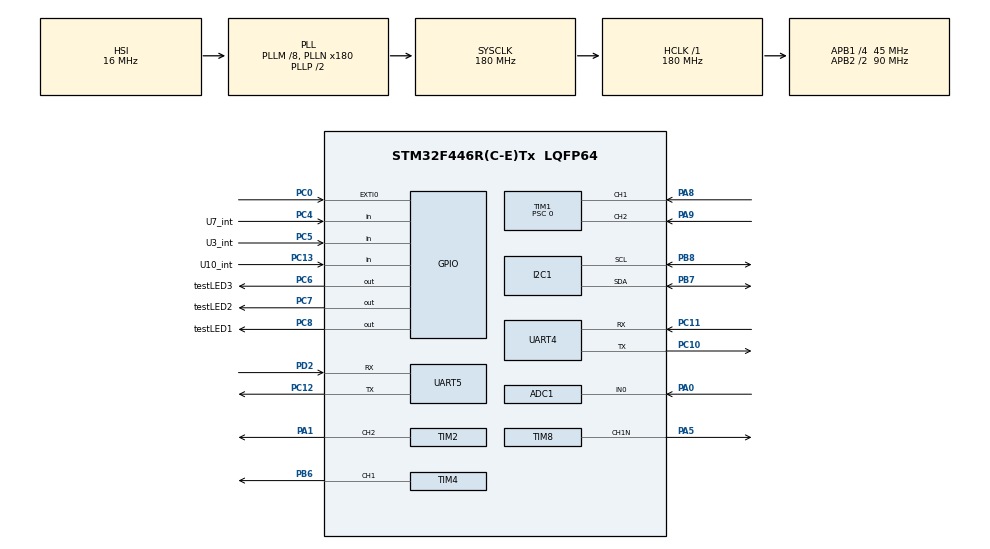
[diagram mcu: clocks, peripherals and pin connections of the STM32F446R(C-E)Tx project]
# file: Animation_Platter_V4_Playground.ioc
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ADC1.Channel-2\#ChannelRegularConversion=ADC_CHANNEL_0
ADC1.ContinuousConvMode=ENABLE
ADC1.NbrOfConversionFlag=1
ADC1.Rank-2\#ChannelRegularConversion=1
ADC1.SamplingTime-2\#ChannelRegularConversion=ADC_SAMPLETIME_3CYCLES
ADC1.master=1
Dma.Request0=TIM2_CH2/CH4
Dma.Request1=UART4_TX
Dma.Request2=UART5_TX
Dma.Request3=TIM4_CH1
Dma.TIM2_CH2/CH4.0.Direction=DMA_MEMORY_TO_PERIPH
Dma.TIM2_CH2/CH4.0.FIFOMode=DMA_FIFOMODE_DISABLE
Dma.TIM2_CH2/CH4.0.Instance=DMA1_Stream6
Dma.TIM2_CH2/CH4.0.MemDataAlignment=DMA_MDATAALIGN_WORD
Dma.TIM2_CH2/CH4.0.MemInc=DMA_MINC_ENABLE
Dma.TIM2_CH2/CH4.0.Mode=DMA_NORMAL
Dma.TIM2_CH2/CH4.0.PeriphDataAlignment=DMA_PDATAALIGN_WORD
Dma.TIM2_CH2/CH4.0.PeriphInc=DMA_PINC_DISABLE
Dma.TIM2_CH2/CH4.0.Priority=DMA_PRIORITY_LOW
Dma.TIM4_CH1.3.Direction=DMA_MEMORY_TO_PERIPH
Dma.TIM4_CH1.3.FIFOMode=DMA_FIFOMODE_DISABLE
Dma.TIM4_CH1.3.Instance=DMA1_Stream0
Dma.TIM4_CH1.3.MemDataAlignment=DMA_MDATAALIGN_HALFWORD
Dma.TIM4_CH1.3.MemInc=DMA_MINC_ENABLE
Dma.TIM4_CH1.3.Mode=DMA_NORMAL
Dma.TIM4_CH1.3.PeriphDataAlignment=DMA_PDATAALIGN_HALFWORD
Dma.TIM4_CH1.3.PeriphInc=DMA_PINC_DISABLE
Dma.TIM4_CH1.3.Priority=DMA_PRIORITY_HIGH
Dma.UART4_TX.1.Direction=DMA_MEMORY_TO_PERIPH
Dma.UART4_TX.1.FIFOMode=DMA_FIFOMODE_DISABLE
Dma.UART4_TX.1.Instance=DMA1_Stream4
Dma.UART4_TX.1.MemDataAlignment=DMA_MDATAALIGN_BYTE
Dma.UART4_TX.1.MemInc=DMA_MINC_ENABLE
Dma.UART4_TX.1.Mode=DMA_NORMAL
Dma.UART4_TX.1.PeriphDataAlignment=DMA_PDATAALIGN_BYTE
Dma.UART4_TX.1.PeriphInc=DMA_PINC_DISABLE
Dma.UART4_TX.1.Priority=DMA_PRIORITY_LOW
Dma.UART5_TX.2.Direction=DMA_MEMORY_TO_PERIPH
Dma.UART5_TX.2.FIFOMode=DMA_FIFOMODE_DISABLE
Dma.UART5_TX.2.Instance=DMA1_Stream7
Dma.UART5_TX.2.MemDataAlignment=DMA_MDATAALIGN_BYTE
Dma.UART5_TX.2.MemInc=DMA_MINC_ENABLE
Dma.UART5_TX.2.Mode=DMA_NORMAL
Dma.UART5_TX.2.PeriphDataAlignment=DMA_PDATAALIGN_BYTE
Dma.UART5_TX.2.PeriphInc=DMA_PINC_DISABLE
Dma.UART5_TX.2.Priority=DMA_PRIORITY_LOW
I2C1.I2C_Mode=I2C_Fast
Mcu.Family=STM32F4
Mcu.Name=STM32F446R(C-E)Tx
Mcu.Package=LQFP64
NVIC.ADC_IRQn=true\:0\:0\:false\:false\:true\:true\:true\:true
NVIC.DMA1_Stream0_IRQn=true\:0\:0\:false\:false\:true\:false\:true\:true
NVIC.DMA1_Stream4_IRQn=true\:0\:0\:false\:false\:true\:false\:true\:true
NVIC.DMA1_Stream6_IRQn=true\:0\:0\:false\:false\:true\:false\:true\:true
NVIC.DMA1_Stream7_IRQn=true\:0\:0\:false\:false\:true\:false\:true\:true
NVIC.EXTI0_IRQn=true\:0\:0\:true\:false\:true\:true\:true\:true
NVIC.PriorityGroup=NVIC_PRIORITYGROUP_4
NVIC.TIM2_IRQn=true\:0\:0\:false\:false\:true\:true\:true\:true
NVIC.TIM4_IRQn=true\:0\:0\:false\:false\:true\:true\:true\:true
NVIC.UART4_IRQn=true\:0\:0\:false\:false\:true\:true\:true\:true
NVIC.UART5_IRQn=true\:0\:0\:false\:false\:true\:true\:true\:true
PA0-WKUP.Signal=ADCx_IN0
PA1.Signal=S_TIM2_CH2
PA13.Mode=Serial_Wire
PA13.Signal=SYS_JTMS-SWDIO
PA14.Mode=Serial_Wire
PA14.Signal=SYS_JTCK-SWCLK
PA5.Mode=PWM Generation1 CH1N
PA5.Signal=TIM8_CH1N
PA8.Signal=S_TIM1_CH1
PA9.Signal=S_TIM1_CH2
PB6.GPIO_PuPd=GPIO_PULLDOWN
PB6.Signal=S_TIM4_CH1
PB7.Mode=I2C
PB7.Signal=I2C1_SDA
PB8.Mode=I2C
PB8.Signal=I2C1_SCL
PC0.GPIO_ModeDefaultEXTI=GPIO_MODE_IT_FALLING
PC0.GPIO_PuPd=GPIO_PULLUP
PC0.Signal=GPXTI0
PC10.Mode=Asynchronous
PC10.Signal=UART4_TX
PC11.Mode=Asynchronous
PC11.Signal=UART4_RX
PC12.Mode=Asynchronous
PC12.Signal=UART5_TX
PC13.GPIO_Label=U10_int
PC13.Signal=GPIO_Input
PC4.GPIO_Label=U7_int
PC4.Signal=GPIO_Input
PC5.GPIO_Label=U3_int
PC5.Signal=GPIO_Input
PC6.GPIO_Label=testLED3
PC6.Signal=GPIO_Output
PC7.GPIO_Label=testLED2
PC7.Signal=GPIO_Output
PC8.GPIO_Label=testLED1
PC8.Signal=GPIO_Output
PD2.Mode=Asynchronous
PD2.Signal=UART5_RX
PH0-OSC_IN.Mode=HSE-External-Oscillator
PH0-OSC_IN.Signal=RCC_OSC_IN
PH1-OSC_OUT.Mode=HSE-External-Oscillator
PH1-OSC_OUT.Signal=RCC_OSC_OUT
ProjectManager.HeapSize=0x200
ProjectManager.StackSize=0x400
ProjectManager.TargetToolchain=CMake
RCC.AHBFreq_Value=180000000
RCC.APB1CLKDivider=RCC_HCLK_DIV4
RCC.APB1Freq_Value=45000000
RCC.APB1TimFreq_Value=90000000
RCC.APB2CLKDivider=RCC_HCLK_DIV2
RCC.APB2Freq_Value=90000000
RCC.APB2TimFreq_Value=180000000
RCC.CortexFreq_Value=180000000
RCC.HCLKFreq_Value=180000000
RCC.HSE_VALUE=16000000
RCC.PLLM=8
RCC.PLLN=180
RCC.SYSCLKFreq_VALUE=180000000
RCC.SYSCLKSource=RCC_SYSCLKSOURCE_PLLCLK
RCC.USBFreq_Value=180000000
RCC.VCOOutputFreq_Value=360000000
SH.ADCx_IN0.0=ADC1_IN0,IN0
SH.S_TIM1_CH1.0=TIM1_CH1,Encoder_Interface
SH.S_TIM1_CH2.0=TIM1_CH2,Encoder_Interface
SH.S_TIM2_CH2.0=TIM2_CH2,PWM Generation2 CH2
SH.S_TIM4_CH1.0=TIM4_CH1,PWM Generation1 CH1
TIM1.AutoReloadPreload=TIM_AUTORELOAD_PRELOAD_ENABLE
TIM1.ClockDivision=TIM_CLOCKDIVISION_DIV1
TIM1.CounterMode=TIM_COUNTERMODE_DOWN
TIM1.EncoderMode=TIM_ENCODERMODE_TI1
TIM1.IC1Filter=15
TIM1.IC1Polarity=TIM_ICPOLARITY_RISING
TIM1.IC1Prescaler=TIM_ICPSC_DIV1
TIM1.IC2Filter=15
TIM1.IC2Polarity=TIM_ICPOLARITY_RISING
TIM1.IC2Prescaler=TIM_ICPSC_DIV1
TIM1.Prescaler=0
TIM2.Channel-PWM\ Generation2\ CH2=TIM_CHANNEL_2
TIM2.Period=113-1
TIM4.Channel-PWM\ Generation1\ CH1=TIM_CHANNEL_1
TIM4.Period=1000
TIM5.Prescaler=0
TIM8.Channel-PWM\ Generation1\ CH1N=TIM_CHANNEL_1
TIM8.Period=100-1
TIM8.Prescaler=1000-1
UART4.VirtualMode=Asynchronous
UART5.VirtualMode=Asynchronous
VP_TIM4_VS_ClockSourceINT.Mode=Internal
VP_TIM5_VS_ClockSourceINT.Mode=Internal
board=custom

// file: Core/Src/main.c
/* USER CODE BEGIN Header */
/**
  ******************************************************************************
  * @file           : main.c
  * @brief          : Main program body
  ******************************************************************************
  * @attention
  *
  * Copyright (c) 2025 STMicroelectronics.
  * All rights reserved.
  *
  * This software is licensed under terms that can be found in the LICENSE file
  * in the root directory of this software component.
  * If no LICENSE file comes with this software, it is provided AS-IS.
  *
  ******************************************************************************
  */
/* USER CODE END Header */
#include "main.h"

/* USER CODE BEGIN Includes */
#include "drivers/TCA9534.h"
#include "drivers/WS2812.h"
#include "drivers/TMC2209.h"
#include "app/machine interface.h"
#include "stm32f446xx.h"
#include "stm32f4xx_hal_gpio.h"
#include "drivers/ESP_UART.h"
#include "drivers/VEML7700.h"

#include "drivers/pn532.h"
#include "drivers/pn532_HAL.h"
#include <stdint.h>

/* USER CODE END Includes */

ADC_HandleTypeDef hadc1;

I2C_HandleTypeDef hi2c1;

TIM_HandleTypeDef htim1;
TIM_HandleTypeDef htim2;
TIM_HandleTypeDef htim4;
TIM_HandleTypeDef htim5;
TIM_HandleTypeDef htim8;
DMA_HandleTypeDef hdma_tim2_ch2_ch4;
DMA_HandleTypeDef hdma_tim4_ch1;

UART_HandleTypeDef huart4;
UART_HandleTypeDef huart5;
DMA_HandleTypeDef hdma_uart4_tx;
DMA_HandleTypeDef hdma_uart5_tx;

/* USER CODE BEGIN PV */

HAL_StatusTypeDef HAL_Status_I2C_2 = HAL_OK;

//system instance
system_interface zoetrope; //main system instance

//esp32 uart tx data instance
ESPTX_instance esp32_1; //main rectangle ESP32-S3 screen
ESPTX_instance esp32_2; //circle ESP32-S3 screen

//PCA9534 I2C I/O expansion variables and instances
//three instances
TCA9534_instance TCA_port1;
TCA9534_instance TCA_port2;
TCA9534_instance TCA_port3;

//settings for port1 (U3)
uint8_t port1Address = 0b0100000;
uint8_t port1Config = 0b01100000; //configuration - inputs for esp32 pins, outputs for motor control pins and heartbeat LED
uint8_t port1Polarity = 0b00000000; //TMC2209 enable pin is active low
uint8_t port1DefVal = 0b00000000; //defualt to OFF
//settings for port2 (U7)
uint8_t port2Address = 0b0100001;
uint8_t port2Config = 0b01111111; //configuration - inputs for switches and unused pins, outputs for heartbeat LED TEST
uint8_t port2Polarity = 0b00000111; //polarity inversion for switch inputs
uint8_t port2DefVal = 0b00000000; //default to OFF
//settings for port3 (U10)
uint8_t port3Address = 0b0100010;
uint8_t port3Config = 0b00011111; //configuration - inputs for buttons, outputs for fans and heartbeat LED TEST
uint8_t port3Polarity = 0b00000000; //no polarity inversion
uint8_t port3DefVal = 0b00000000; //default to OFF

uint32_t heartbeatTime = 0;
uint32_t prevHeartbeatTime = 0;
uint16_t blinkTime = 250; //heartbeat blink tie
uint8_t heartbeatIndex = 0;

volatile uint16_t tempVariable = 0;

//figuring out NFC below here////
uint8_t NFCReadBuffer[126][4]; //buffer to hold NFC read data - max 126 pages of 4 bytes each
uint8_t NFCWriteBuffer[126][4]; //buffer to hold NFC write data - max 126 pages of 4 bytes each
uint8_t DATA[] = {0x05, 0x06, 0x07, 0x08}; //for single page writes
uint8_t DATA2[] = {0x00, 0x00, 0x00, 0x00}; //for single page reads
uint8_t NFCUID[7]; //buffer to hold NFC UID - max 7 bytes
uint8_t NFCUIDLength = 0; //length of the NFC UID read
uint8_t NFCDetectedFlag = 0; //flag to indicate if an NFC tag has been detected
uint8_t NFCFailFlag = 0; //flag to indicate if an NFC operation has failed
uint8_t zoetrope_NFCPageCount = 10; //number of pages to read/write for zoetrope data, each page is 4 bytes - adjust as needed, starting at 10, 2 extra pages - for testing

//variable in the example code
uint8_t buff[255]; //look to optimize this out? - or integrate the DATA buffers into this
uint8_t uid[MIFARE_UID_MAX_LENGTH];
uint32_t pn532_error = PN532_ERROR_NONE; //reset error variable
int32_t uid_len = 0; //reset uid length variable
uint8_t block_number = 6; //this is where data can start being written on NTAG2xx tags

uint8_t buff[255];
uint8_t uid[MIFARE_UID_MAX_LENGTH];
//int32_t uid_len = 0; defined above
PN532 pn532;

/* USER CODE END PV */

void SystemClock_Config(void);
static void MX_GPIO_Init(void);
static void MX_DMA_Init(void);
static void MX_I2C1_Init(void);
static void MX_ADC1_Init(void);
static void MX_TIM1_Init(void);
static void MX_UART4_Init(void);
static void MX_TIM8_Init(void);
static void MX_TIM2_Init(void);
static void MX_UART5_Init(void);
static void MX_TIM4_Init(void);
static void MX_TIM5_Init(void);
/* USER CODE BEGIN PFP */

void I2C_IO_run(void);
void NFC_writeDataToSticker(PN532* pn532);
void setNFCWriteBuffer(void);
void resetNFCReadBuffer(void);

/* USER CODE END PFP */

int main(void)
{

  /* MCU Configuration--------------------------------------------------------*/

  /* Reset of all peripherals, Initializes the Flash interface and the Systick. */
  HAL_Init();

  /* Configure the system clock */
  SystemClock_Config();

  /* Initialize all configured peripherals */
  MX_GPIO_Init();
  MX_DMA_Init();
  MX_I2C1_Init();
  MX_ADC1_Init();
  MX_TIM1_Init();
  MX_UART4_Init();
  MX_TIM8_Init();
  MX_TIM2_Init();
  MX_UART5_Init();
  MX_TIM4_Init();
  MX_TIM5_Init();

  /* Infinite loop */
  /* USER CODE BEGIN WHILE */

  //start microsecond (platter speed tracker) timer
  HAL_TIM_Base_Start(&htim5);

  //start the encoder timer
  HAL_TIM_Encoder_Start(&htim1, TIM_CHANNEL_ALL);
  //preload the encoder timer count - timer increments the CNT register based on rotation direction of the encoder - need to set roughly in the middle of the range
  TIM1->CNT = 32768; //somewhere in the middle of the 16-bit range

  zoetrope.encoderTimerCount = TIM1->CNT; //set the timer encoder value
  zoetrope.prevEncoderTimerCount = zoetrope.encoderTimerCount; //set the previous timer encoder value

  //initialize each I/O expander with default zoetrope carousel v4 settings
  HAL_Status_I2C_2 = TCA9534_init(&TCA_port1, &hi2c1, port1Address, port1Config, port1Polarity, port1DefVal);
  HAL_Status_I2C_2 = TCA9534_init(&TCA_port2, &hi2c1, port2Address, port2Config, port2Polarity, port2DefVal);
  HAL_Status_I2C_2 = TCA9534_init(&TCA_port3, &hi2c1, port3Address, port3Config, port3Polarity, port3DefVal);

  zoetrope_init(&zoetrope); //call this after all the other initializations except TMC2209_init()
  TMC2209_init(&zoetrope, 0, 0); //initialize the TMC2209 motor driver - full step, stealthChop

  HAL_Status_I2C_2 = HAL_ADC_Start_IT(&hadc1); //start ADC in interrupt mode - continuous conversion

  //stepper motor pwm
  HAL_TIMEx_PWMN_Start(&htim8, TIM_CHANNEL_1); //if this doesnt work, try CH1N

  //set all LEDs to OFF - to start
  HAL_GPIO_WritePin(GPIOC, testLED1_Pin, 0);
  HAL_GPIO_WritePin(GPIOC, testLED2_Pin, 0);
  HAL_GPIO_WritePin(GPIOC, testLED3_Pin, 0);
  neopixel_setAllLEDColor(0, 0, 0);
  neopixel_update();

  //keep the strobe off until it is implemented
  strobe_timerPWMControl(&zoetrope); //start the strobe PWM output //TURN THE STROBE OFF

  //////////////////////////////////////////////////
  ////////NFC Initialize////////////////////////
  /////////////////////////////////////////////////

  PN532_I2C_Init(&pn532);
  PN532_GetFirmwareVersion(&pn532, buff);
  if (PN532_GetFirmwareVersion(&pn532, buff) == PN532_STATUS_OK) {
    buff[0] = buff[0]; //breakpoint spot
  } else {
    //return -1; //this will break things - kadin
  }
  PN532_SamConfiguration(&pn532); //put into read mode? - not sure what this does yet, but its needed

  //put zoetrope into default running state - for testing
  //zoetrope.stateMachine_state = 100; //default to running state
  zoetrope.stateMachine_state = 10; //NFC search mode
  //set temporary motor mode
  uint8_t tempMotorMode = 100; //default mode
  zoetrope.motorMode = tempMotorMode;

  while (1)
  {

    //cant move this until I move the function itself from this file
    //checks if time to update I2C I/O expander inputs then reads the inputs if needed
    I2C_IO_run(); //call this function FIRST IN THE LOOP prior to chaning any I/O variables (it will overwrite changes otherwise)

    //everything but checking i2c inputs
    zoetrope_stateMachine(&zoetrope); //system state machine handler - all system functions and variables set here

    //NFC TESTING - write and confirm good write (this slows things down ALOT)
    //NFC_writeDataToSticker(&pn532);

    /* USER CODE END WHILE */

  }
}

void SystemClock_Config(void)
{
  RCC_OscInitTypeDef RCC_OscInitStruct = {0};
  RCC_ClkInitTypeDef RCC_ClkInitStruct = {0};

  /** Configure the main internal regulator output voltage
  */
  __HAL_RCC_PWR_CLK_ENABLE();
  __HAL_PWR_VOLTAGESCALING_CONFIG(PWR_REGULATOR_VOLTAGE_SCALE1);

  /** Initializes the RCC Oscillators according to the specified parameters
  * in the RCC_OscInitTypeDef structure.
  */
  RCC_OscInitStruct.OscillatorType = RCC_OSCILLATORTYPE_HSI;
  RCC_OscInitStruct.HSIState = RCC_HSI_ON;
  RCC_OscInitStruct.HSICalibrationValue = RCC_HSICALIBRATION_DEFAULT;
  RCC_OscInitStruct.PLL.PLLState = RCC_PLL_ON;
  RCC_OscInitStruct.PLL.PLLSource = RCC_PLLSOURCE_HSI;
  RCC_OscInitStruct.PLL.PLLM = 8;
  RCC_OscInitStruct.PLL.PLLN = 180;
  RCC_OscInitStruct.PLL.PLLP = RCC_PLLP_DIV2;
  RCC_OscInitStruct.PLL.PLLQ = 2;
  RCC_OscInitStruct.PLL.PLLR = 2;
  if (HAL_RCC_OscConfig(&RCC_OscInitStruct) != HAL_OK)
  {
    Error_Handler();
  }

  /** Activate the Over-Drive mode
  */
  if (HAL_PWREx_EnableOverDrive() != HAL_OK)
  {
    Error_Handler();
  }

  /** Initializes the CPU, AHB and APB buses clocks
  */
  RCC_ClkInitStruct.ClockType = RCC_CLOCKTYPE_HCLK|RCC_CLOCKTYPE_SYSCLK
                              |RCC_CLOCKTYPE_PCLK1|RCC_CLOCKTYPE_PCLK2;
  RCC_ClkInitStruct.SYSCLKSource = RCC_SYSCLKSOURCE_PLLCLK;
  RCC_ClkInitStruct.AHBCLKDivider = RCC_SYSCLK_DIV1;
  RCC_ClkInitStruct.APB1CLKDivider = RCC_HCLK_DIV4;
  RCC_ClkInitStruct.APB2CLKDivider = RCC_HCLK_DIV2;

  if (HAL_RCC_ClockConfig(&RCC_ClkInitStruct, FLASH_LATENCY_5) != HAL_OK)
  {
    Error_Handler();
  }
}

static void MX_ADC1_Init(void)
{

  ADC_ChannelConfTypeDef sConfig = {0};

  /** Configure the global features of the ADC (Clock, Resolution, Data Alignment and number of conversion)
  */
  hadc1.Instance = ADC1;
  hadc1.Init.ClockPrescaler = ADC_CLOCK_SYNC_PCLK_DIV4;
  hadc1.Init.Resolution = ADC_RESOLUTION_12B;
  hadc1.Init.ScanConvMode = DISABLE;
  hadc1.Init.ContinuousConvMode = ENABLE;
  hadc1.Init.DiscontinuousConvMode = DISABLE;
  hadc1.Init.ExternalTrigConvEdge = ADC_EXTERNALTRIGCONVEDGE_NONE;
  hadc1.Init.ExternalTrigConv = ADC_SOFTWARE_START;
  hadc1.Init.DataAlign = ADC_DATAALIGN_RIGHT;
  hadc1.Init.NbrOfConversion = 1;
  hadc1.Init.DMAContinuousRequests = DISABLE;
  hadc1.Init.EOCSelection = ADC_EOC_SINGLE_CONV;
  if (HAL_ADC_Init(&hadc1) != HAL_OK)
  {
    Error_Handler();
  }

  /** Configure for the selected ADC regular channel its corresponding rank in the sequencer and its sample time.
  */
  sConfig.Channel = ADC_CHANNEL_0;
  sConfig.Rank = 1;
  sConfig.SamplingTime = ADC_SAMPLETIME_3CYCLES;
  if (HAL_ADC_ConfigChannel(&hadc1, &sConfig) != HAL_OK)
  {
    Error_Handler();
  }

}

static void MX_I2C1_Init(void)
{

  hi2c1.Instance = I2C1;
  hi2c1.Init.ClockSpeed = 400000;
  hi2c1.Init.DutyCycle = I2C_DUTYCYCLE_2;
  hi2c1.Init.OwnAddress1 = 0;
  hi2c1.Init.AddressingMode = I2C_ADDRESSINGMODE_7BIT;
  hi2c1.Init.DualAddressMode = I2C_DUALADDRESS_DISABLE;
  hi2c1.Init.OwnAddress2 = 0;
  hi2c1.Init.GeneralCallMode = I2C_GENERALCALL_DISABLE;
  hi2c1.Init.NoStretchMode = I2C_NOSTRETCH_DISABLE;
  if (HAL_I2C_Init(&hi2c1) != HAL_OK)
  {
    Error_Handler();
  }

}

static void MX_TIM1_Init(void)
{

  TIM_Encoder_InitTypeDef sConfig = {0};
  TIM_MasterConfigTypeDef sMasterConfig = {0};

  htim1.Instance = TIM1;
  htim1.Init.Prescaler = 0;
  htim1.Init.CounterMode = TIM_COUNTERMODE_DOWN;
  htim1.Init.Period = 65535;
  htim1.Init.ClockDivision = TIM_CLOCKDIVISION_DIV1;
  htim1.Init.RepetitionCounter = 0;
  htim1.Init.AutoReloadPreload = TIM_AUTORELOAD_PRELOAD_ENABLE;
  sConfig.EncoderMode = TIM_ENCODERMODE_TI1;
  sConfig.IC1Polarity = TIM_ICPOLARITY_RISING;
  sConfig.IC1Selection = TIM_ICSELECTION_DIRECTTI;
  sConfig.IC1Prescaler = TIM_ICPSC_DIV1;
  sConfig.IC1Filter = 15;
  sConfig.IC2Polarity = TIM_ICPOLARITY_RISING;
  sConfig.IC2Selection = TIM_ICSELECTION_DIRECTTI;
  sConfig.IC2Prescaler = TIM_ICPSC_DIV1;
  sConfig.IC2Filter = 15;
  if (HAL_TIM_Encoder_Init(&htim1, &sConfig) != HAL_OK)
  {
    Error_Handler();
  }
  sMasterConfig.MasterOutputTrigger = TIM_TRGO_RESET;
  sMasterConfig.MasterSlaveMode = TIM_MASTERSLAVEMODE_DISABLE;
  if (HAL_TIMEx_MasterConfigSynchronization(&htim1, &sMasterConfig) != HAL_OK)
  {
    Error_Handler();
  }

}

static void MX_TIM2_Init(void)
{

  TIM_MasterConfigTypeDef sMasterConfig = {0};
  TIM_OC_InitTypeDef sConfigOC = {0};

  htim2.Instance = TIM2;
  htim2.Init.Prescaler = 0;
  htim2.Init.CounterMode = TIM_COUNTERMODE_UP;
  htim2.Init.Period = 113-1;
  htim2.Init.ClockDivision = TIM_CLOCKDIVISION_DIV1;
  htim2.Init.AutoReloadPreload = TIM_AUTORELOAD_PRELOAD_DISABLE;
  if (HAL_TIM_PWM_Init(&htim2) != HAL_OK)
  {
    Error_Handler();
  }
  sMasterConfig.MasterOutputTrigger = TIM_TRGO_RESET;
  sMasterConfig.MasterSlaveMode = TIM_MASTERSLAVEMODE_DISABLE;
  if (HAL_TIMEx_MasterConfigSynchronization(&htim2, &sMasterConfig) != HAL_OK)
  {
    Error_Handler();
  }
  sConfigOC.OCMode = TIM_OCMODE_PWM1;
  sConfigOC.Pulse = 0;
  sConfigOC.OCPolarity = TIM_OCPOLARITY_HIGH;
  sConfigOC.OCFastMode = TIM_OCFAST_DISABLE;
  if (HAL_TIM_PWM_ConfigChannel(&htim2, &sConfigOC, TIM_CHANNEL_2) != HAL_OK)
  {
    Error_Handler();
  }
  HAL_TIM_MspPostInit(&htim2);

}

static void MX_TIM4_Init(void)
{

  TIM_ClockConfigTypeDef sClockSourceConfig = {0};
  TIM_MasterConfigTypeDef sMasterConfig = {0};
  TIM_OC_InitTypeDef sConfigOC = {0};

  htim4.Instance = TIM4;
  htim4.Init.Prescaler = 0;
  htim4.Init.CounterMode = TIM_COUNTERMODE_UP;
  htim4.Init.Period = 1000;
  htim4.Init.ClockDivision = TIM_CLOCKDIVISION_DIV1;
  htim4.Init.AutoReloadPreload = TIM_AUTORELOAD_PRELOAD_DISABLE;
  if (HAL_TIM_Base_Init(&htim4) != HAL_OK)
  {
    Error_Handler();
  }
  sClockSourceConfig.ClockSource = TIM_CLOCKSOURCE_INTERNAL;
  if (HAL_TIM_ConfigClockSource(&htim4, &sClockSourceConfig) != HAL_OK)
  {
    Error_Handler();
  }
  if (HAL_TIM_PWM_Init(&htim4) != HAL_OK)
  {
    Error_Handler();
  }
  sMasterConfig.MasterOutputTrigger = TIM_TRGO_RESET;
  sMasterConfig.MasterSlaveMode = TIM_MASTERSLAVEMODE_DISABLE;
  if (HAL_TIMEx_MasterConfigSynchronization(&htim4, &sMasterConfig) != HAL_OK)
  {
    Error_Handler();
  }
  sConfigOC.OCMode = TIM_OCMODE_PWM1;
  sConfigOC.Pulse = 0;
  sConfigOC.OCPolarity = TIM_OCPOLARITY_HIGH;
  sConfigOC.OCFastMode = TIM_OCFAST_DISABLE;
  if (HAL_TIM_PWM_ConfigChannel(&htim4, &sConfigOC, TIM_CHANNEL_1) != HAL_OK)
  {
    Error_Handler();
  }
  HAL_TIM_MspPostInit(&htim4);

}

static void MX_TIM5_Init(void)
{

  TIM_ClockConfigTypeDef sClockSourceConfig = {0};
  TIM_MasterConfigTypeDef sMasterConfig = {0};

  htim5.Instance = TIM5;
  htim5.Init.Prescaler = 0;
  htim5.Init.CounterMode = TIM_COUNTERMODE_UP;
  htim5.Init.Period = 4294967295;
  htim5.Init.ClockDivision = TIM_CLOCKDIVISION_DIV1;
  htim5.Init.AutoReloadPreload = TIM_AUTORELOAD_PRELOAD_DISABLE;
  if (HAL_TIM_Base_Init(&htim5) != HAL_OK)
  {
    Error_Handler();
  }
  sClockSourceConfig.ClockSource = TIM_CLOCKSOURCE_INTERNAL;
  if (HAL_TIM_ConfigClockSource(&htim5, &sClockSourceConfig) != HAL_OK)
  {
    Error_Handler();
  }
  sMasterConfig.MasterOutputTrigger = TIM_TRGO_RESET;
  sMasterConfig.MasterSlaveMode = TIM_MASTERSLAVEMODE_DISABLE;
  if (HAL_TIMEx_MasterConfigSynchronization(&htim5, &sMasterConfig) != HAL_OK)
  {
    Error_Handler();
  }

}

static void MX_TIM8_Init(void)
{

  TIM_MasterConfigTypeDef sMasterConfig = {0};
  TIM_OC_InitTypeDef sConfigOC = {0};
  TIM_BreakDeadTimeConfigTypeDef sBreakDeadTimeConfig = {0};

  htim8.Instance = TIM8;
  htim8.Init.Prescaler = 1000-1;
  htim8.Init.CounterMode = TIM_COUNTERMODE_UP;
  htim8.Init.Period = 100-1;
  htim8.Init.ClockDivision = TIM_CLOCKDIVISION_DIV1;
  htim8.Init.RepetitionCounter = 0;
  htim8.Init.AutoReloadPreload = TIM_AUTORELOAD_PRELOAD_DISABLE;
  if (HAL_TIM_PWM_Init(&htim8) != HAL_OK)
  {
    Error_Handler();
  }
  sMasterConfig.MasterOutputTrigger = TIM_TRGO_RESET;
  sMasterConfig.MasterSlaveMode = TIM_MASTERSLAVEMODE_DISABLE;
  if (HAL_TIMEx_MasterConfigSynchronization(&htim8, &sMasterConfig) != HAL_OK)
  {
    Error_Handler();
  }
  sConfigOC.OCMode = TIM_OCMODE_PWM1;
  sConfigOC.Pulse = 0;
  sConfigOC.OCPolarity = TIM_OCPOLARITY_HIGH;
  sConfigOC.OCNPolarity = TIM_OCNPOLARITY_HIGH;
  sConfigOC.OCFastMode = TIM_OCFAST_DISABLE;
  sConfigOC.OCIdleState = TIM_OCIDLESTATE_RESET;
  sConfigOC.OCNIdleState = TIM_OCNIDLESTATE_RESET;
  if (HAL_TIM_PWM_ConfigChannel(&htim8, &sConfigOC, TIM_CHANNEL_1) != HAL_OK)
  {
    Error_Handler();
  }
  sBreakDeadTimeConfig.OffStateRunMode = TIM_OSSR_DISABLE;
  sBreakDeadTimeConfig.OffStateIDLEMode = TIM_OSSI_DISABLE;
  sBreakDeadTimeConfig.LockLevel = TIM_LOCKLEVEL_OFF;
  sBreakDeadTimeConfig.DeadTime = 0;
  sBreakDeadTimeConfig.BreakState = TIM_BREAK_DISABLE;
  sBreakDeadTimeConfig.BreakPolarity = TIM_BREAKPOLARITY_HIGH;
  sBreakDeadTimeConfig.AutomaticOutput = TIM_AUTOMATICOUTPUT_DISABLE;
  if (HAL_TIMEx_ConfigBreakDeadTime(&htim8, &sBreakDeadTimeConfig) != HAL_OK)
  {
    Error_Handler();
  }
  HAL_TIM_MspPostInit(&htim8);

}

static void MX_UART4_Init(void)
{

  huart4.Instance = UART4;
  huart4.Init.BaudRate = 115200;
  huart4.Init.WordLength = UART_WORDLENGTH_8B;
  huart4.Init.StopBits = UART_STOPBITS_1;
  huart4.Init.Parity = UART_PARITY_NONE;
  huart4.Init.Mode = UART_MODE_TX_RX;
  huart4.Init.HwFlowCtl = UART_HWCONTROL_NONE;
  huart4.Init.OverSampling = UART_OVERSAMPLING_16;
  if (HAL_UART_Init(&huart4) != HAL_OK)
  {
    Error_Handler();
  }

}

static void MX_UART5_Init(void)
{

  huart5.Instance = UART5;
  huart5.Init.BaudRate = 115200;
  huart5.Init.WordLength = UART_WORDLENGTH_8B;
  huart5.Init.StopBits = UART_STOPBITS_1;
  huart5.Init.Parity = UART_PARITY_NONE;
  huart5.Init.Mode = UART_MODE_TX_RX;
  huart5.Init.HwFlowCtl = UART_HWCONTROL_NONE;
  huart5.Init.OverSampling = UART_OVERSAMPLING_16;
  if (HAL_UART_Init(&huart5) != HAL_OK)
  {
    Error_Handler();
  }

}

static void MX_DMA_Init(void)
{

  /* DMA controller clock enable */
  __HAL_RCC_DMA1_CLK_ENABLE();

  /* DMA interrupt init */
  /* DMA1_Stream0_IRQn interrupt configuration */
  HAL_NVIC_SetPriority(DMA1_Stream0_IRQn, 0, 0);
  HAL_NVIC_EnableIRQ(DMA1_Stream0_IRQn);
  /* DMA1_Stream4_IRQn interrupt configuration */
  HAL_NVIC_SetPriority(DMA1_Stream4_IRQn, 0, 0);
  HAL_NVIC_EnableIRQ(DMA1_Stream4_IRQn);
  /* DMA1_Stream6_IRQn interrupt configuration */
  HAL_NVIC_SetPriority(DMA1_Stream6_IRQn, 0, 0);
  HAL_NVIC_EnableIRQ(DMA1_Stream6_IRQn);
  /* DMA1_Stream7_IRQn interrupt configuration */
  HAL_NVIC_SetPriority(DMA1_Stream7_IRQn, 0, 0);
  HAL_NVIC_EnableIRQ(DMA1_Stream7_IRQn);

}

static void MX_GPIO_Init(void)
{
  GPIO_InitTypeDef GPIO_InitStruct = {0};

  /* GPIO Ports Clock Enable */
  __HAL_RCC_GPIOC_CLK_ENABLE();
  __HAL_RCC_GPIOH_CLK_ENABLE();
  __HAL_RCC_GPIOA_CLK_ENABLE();
  __HAL_RCC_GPIOD_CLK_ENABLE();
  __HAL_RCC_GPIOB_CLK_ENABLE();

  /*Configure GPIO pin Output Level */
  HAL_GPIO_WritePin(GPIOC, testLED3_Pin|testLED2_Pin|testLED1_Pin, GPIO_PIN_RESET);

  /*Configure GPIO pins : U10_int_Pin U7_int_Pin U3_int_Pin */
  GPIO_InitStruct.Pin = U10_int_Pin|U7_int_Pin|U3_int_Pin;
  GPIO_InitStruct.Mode = GPIO_MODE_INPUT;
  GPIO_InitStruct.Pull = GPIO_NOPULL;
  HAL_GPIO_Init(GPIOC, &GPIO_InitStruct);

  /*Configure GPIO pin : PC0 */
  GPIO_InitStruct.Pin = GPIO_PIN_0;
  GPIO_InitStruct.Mode = GPIO_MODE_IT_FALLING;
  GPIO_InitStruct.Pull = GPIO_PULLUP;
  HAL_GPIO_Init(GPIOC, &GPIO_InitStruct);

  /*Configure GPIO pins : testLED3_Pin testLED2_Pin testLED1_Pin */
  GPIO_InitStruct.Pin = testLED3_Pin|testLED2_Pin|testLED1_Pin;
  GPIO_InitStruct.Mode = GPIO_MODE_OUTPUT_PP;
  GPIO_InitStruct.Pull = GPIO_NOPULL;
  GPIO_InitStruct.Speed = GPIO_SPEED_FREQ_LOW;
  HAL_GPIO_Init(GPIOC, &GPIO_InitStruct);

  /* EXTI interrupt init*/
  HAL_NVIC_SetPriority(EXTI0_IRQn, 0, 0);
  HAL_NVIC_EnableIRQ(EXTI0_IRQn);

}

/* USER CODE BEGIN 4 */

void I2C_IO_run(void){

  //read I2C inputs from all three I/O expanders and update system variables
  //TCA9534_ReadInputs(&hi2c1, TCA_port1.address, &TCA_port1.data);
  //TCA9534_ReadInputs(&hi2c1, TCA_port2.address, &TCA_port2.data);
  //TCA9534_ReadInputs(&hi2c1, TCA_port3.address, &TCA_port3.data);

  //this pin didnt fire an interrupt for some reason, so just do a GPIO read to check its state - active low
  if(!HAL_GPIO_ReadPin(GPIOC, U3_int_Pin)){ //active low interrupt pin
    zoetrope.U3_interruptFlag = 1; //set flag to indicate I2C read needed
  }

  //check if we need to from the I2C I/O expanders - check flags set in interrupt
  if(zoetrope.U3_interruptFlag == 1){
    TCA9534_ReadInputs(&hi2c1, TCA_port1.address, &TCA_port1.data);
    zoetrope.U3_interruptFlag = 0; //clear flag
    zoetrope_assignHardwareI2CInputs(&zoetrope, 1, TCA_port1.data); //read U3 I2C I/O expander inputs and update system variables
  }

  //this pin didnt fire an interrupt for some reason, so just do a GPIO read to check its state - active low
  if(!HAL_GPIO_ReadPin(GPIOC, U7_int_Pin)){ //active low interrupt pin
    zoetrope.U7_interruptFlag = 1; //set flag to indicate I2C read needed
  }

  //interrupts have been a little hit or miss. If this continues, switch to a basic GPIO read method like U10
  //when interrupts work, they work really well. When they dont work, its usually just for a short time then it works great.
  if(zoetrope.U7_interruptFlag == 1){
    TCA9534_ReadInputs(&hi2c1, TCA_port2.address, &TCA_port2.data);
    zoetrope.U7_interruptFlag = 0; //clear flag
    zoetrope_assignHardwareI2CInputs(&zoetrope, 2, TCA_port2.data); //read U7 I2C I/O expander inputs and update system variables
  }

  //this pin didnt fire an interrupt for some reason, so just do a GPIO read to check its state - active low
  if(!HAL_GPIO_ReadPin(GPIOC, U10_int_Pin)){ //active low interrupt pin
    zoetrope.U10_interruptFlag = 1; //set flag to indicate I2C read needed
  }

  if(zoetrope.U10_interruptFlag == 1){
    TCA9534_ReadInputs(&hi2c1, TCA_port3.address, &TCA_port3.data);
    zoetrope.U10_interruptFlag = 0; //clear flag
    zoetrope_assignHardwareI2CInputs(&zoetrope, 3, TCA_port3.data); //read U10 I2C I/O expander inputs and update system variables
  }

  //zoetrope_readHardwareI2CInputs(&zoetrope, 1, TCA_port1.data); //read U3 I2C I/O expander inputs and update system variables
  //zoetrope_readHardwareI2CInputs(&zoetrope, 2, TCA_port2.data); //read U7 I2C I/O expander inputs and update system variables
  //zoetrope_readHardwareI2CInputs(&zoetrope, 3, TCA_port3.data); //read U10 I2C I/O expander inputs and update system variables
}

//////////////////////////
//////////NFC////////////
/////////////////////////
void NFC_writeDataToSticker(PN532* pn532){

  if(NFCDetectedFlag == 0){
    // Check if a card is available to read
    uid_len = PN532_ReadPassiveTarget(pn532, uid, PN532_MIFARE_ISO14443A, 1000);
    if (uid_len == PN532_STATUS_ERROR) {
      //printf(".");
    } else {
      //printf("Found card with UID: ");
      for (uint8_t i = 0; i < uid_len; i++) {
        //printf("%02x ", uid[i]);
      }
      NFCDetectedFlag = 1; //NFC sticker detected
      NFCFailFlag = 0;
    }
  }

  if(NFCDetectedFlag){ //write to sticker and read back to confirm good write
    block_number = 6; //start writing at page 6
    setNFCWriteBuffer(); //setup buffer we write to the NFC sticker
    for(uint8_t k=0; k<zoetrope_NFCPageCount; k++){
      //write one page at a time
      DATA[0] = NFCWriteBuffer[k][0];
      DATA[1] = NFCWriteBuffer[k][1];
      DATA[2] = NFCWriteBuffer[k][2];
      DATA[3] = NFCWriteBuffer[k][3];
      pn532_error = PN532_Ntag2xxWriteBlock(pn532, DATA, (block_number + k));
      if (pn532_error) {
        NFCFailFlag = 1;
      }
    }

    resetNFCReadBuffer(); //clear read buffer prior to reading back data
    for(uint8_t k=0; k<zoetrope_NFCPageCount; k++){
      //read one page at a time
      pn532_error = PN532_Ntag2xxReadBlock(pn532, DATA2, (block_number + k));
      if (pn532_error) {
        NFCFailFlag = 1;
      }
      NFCReadBuffer[k][0] = DATA2[0];
      NFCReadBuffer[k][1] = DATA2[1];
      NFCReadBuffer[k][2] = DATA2[2];
      NFCReadBuffer[k][3] = DATA2[3];
      //reset DATA2 for next read
      DATA2[0] = 0x00;
      DATA2[1] = 0x00;
      DATA2[2] = 0x00;
      DATA2[3] = 0x00;
    }

    //confirm good data read
    for(uint8_t k=0; k<zoetrope_NFCPageCount; k++){

      //check each page 1 at a time
      DATA[0] = NFCWriteBuffer[k][0];
      DATA[1] = NFCWriteBuffer[k][1];
      DATA[2] = NFCWriteBuffer[k][2];
      DATA[3] = NFCWriteBuffer[k][3];

      DATA2[0] = NFCReadBuffer[k][0];
      DATA2[1] = NFCReadBuffer[k][1];
      DATA2[2] = NFCReadBuffer[k][2];
      DATA2[3] = NFCReadBuffer[k][3];

      //check data for good read
      for (uint8_t i = 0; i < sizeof(DATA); i++) {
        if (DATA[i] != DATA2[i]) {
          NFCFailFlag = 1;
        }
      }

    }//end confirm good data read

    if(NFCFailFlag == 0){
      //successful read and write
      zoetrope.blueLED = 1; //turn on blue LED to indicate success
    }else{
      zoetrope.blueLED = 0; //turn off blue LED to indicate fail
    }
    //reset flag
    NFCDetectedFlag = 0;
    //reset data to have confidence in testing
    DATA2[0] = 0x00;
    DATA2[1] = 0x00;
    DATA2[2] = 0x00;
    DATA2[3] = 0x00;
  }
}

void setNFCWriteBuffer(void){
  for(uint8_t k=0; k<126; k++){
    NFCWriteBuffer[k][0] = k; //just an example pattern
    NFCWriteBuffer[k][1] = k;
    NFCWriteBuffer[k][2] = k;
    NFCWriteBuffer[k][3] = k;
  }
}

void resetNFCReadBuffer(void){
  for(uint8_t k=0; k<126; k++){
    NFCReadBuffer[k][0] = 0x00;
    NFCReadBuffer[k][1] = 0x00;
    NFCReadBuffer[k][2] = 0x00;
    NFCReadBuffer[k][3] = 0x00;
  }
}

/////////////////////////
//interrupt functions////
/////////////////////////

void HAL_ADC_ConvCpltCallback(ADC_HandleTypeDef *hadc)
{
	  zoetrope.motorSpeedPot = HAL_ADC_GetValue(&hadc1); //record the ADC value into the system variable
	  //zoetrope.PWMMotorSpeedValue = map(zoetrope.motorSpeedPot, 0, 65535, 0, 100); //I should read the actual min and max values and update here
}

//DMA complete callback function
void HAL_TIM_PWM_PulseFinishedCallback(TIM_HandleTypeDef *htim){
  if(htim->Instance == TIM1){
        //encoder timer - do nothing
    }

  if(htim->Instance == TIM2){
        //WS2812 PWM complete
        WS2812_PulseFinishedCallback(htim);
  }

  if(htim->Instance == TIM8){
      //motor PWM complete - do nothing
  }

  if(htim->Instance == TIM4){
    //strobe PWM complete - stop PWM transfer (transfer is re-activated on HALL sensor trigger)
    strobe_PulseFinishedCallback(htim);
  }

}

//void HAL_ADC_ConvCpltCallback(ADC_HandleTypeDef *hadc)
//{
	  //value = map(zoetrope.motorSpeedPot, 1700, 65535, 0, 100); //example - probably remove later
//}

void HAL_GPIO_EXTI_Callback(uint16_t GPIO_Pin){
  //GPIO interrupts
  if (GPIO_Pin == GPIO_PIN_0) {
    //only use this when scanning for NFC tags (polling code otherwise)
    if(zoetrope.stateMachine_state == 10){ //NFC scan mode
      zoetrope_HALLSensorInterruptHandler2(&zoetrope); //call the HALL sensor interrupt handler
    }
  }
}

/* USER CODE END 4 */

void Error_Handler(void)
{
  __disable_irq();
  while (1)
  {
  }
}
